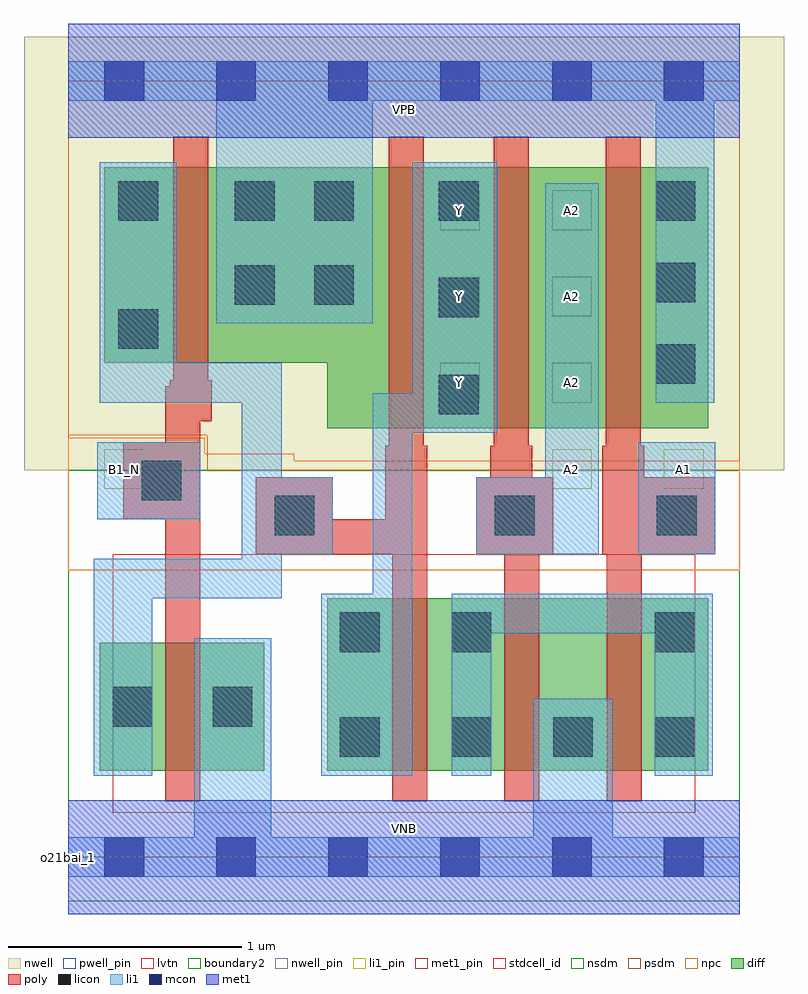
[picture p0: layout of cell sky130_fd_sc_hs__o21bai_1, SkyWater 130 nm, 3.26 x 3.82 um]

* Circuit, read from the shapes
.subckt sky130_fd_sc_hs__o21bai_1 A1 A2 B1_N VGND VNB VPB VPWR Y
XM1 VGND B1_N n1 VNB sky130_fd_pr__nfet_01v8_lvt w=0.55 l=0.15
XM2 n2 n1 Y VNB sky130_fd_pr__nfet_01v8_lvt w=0.74 l=0.15
XM3 VGND A2 n2 VNB sky130_fd_pr__nfet_01v8_lvt w=0.74 l=0.15
XM4 n2 A1 VGND VNB sky130_fd_pr__nfet_01v8_lvt w=0.74 l=0.15
XM5 VPWR B1_N n1 VPB sky130_fd_pr__pfet_01v8 w=0.84 l=0.15
XM6 Y n1 VPWR VPB sky130_fd_pr__pfet_01v8 w=1.12 l=0.15
XM7 n3 A2 Y VPB sky130_fd_pr__pfet_01v8 w=1.12 l=0.15
XM8 VPWR A1 n3 VPB sky130_fd_pr__pfet_01v8 w=1.12 l=0.15
.ends

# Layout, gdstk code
import gdstk
lib = gdstk.Library(unit=1e-6, precision=1e-09)
def R(c, l, rs):  # rectangles x0, y0, x1, y1
    for r in rs: c.add(gdstk.rectangle(r[:2], r[2:], *l))
def A(c, l, x, y, w, h, nx, ny, dx, dy):  # array of equal rectangles
    R(c, l, [(x+i*dx, y+j*dy, x+i*dx+w, y+j*dy+h) for i in range(nx) for j in range(ny)])
def P(c, l, *ps):  # polygons
    for p in ps: c.add(gdstk.Polygon(p, *l))
nwell_pin = (64, 16)
nwell = (64, 20)
diff = (65, 20)
poly = (66, 20)
licon = (66, 44)
li1_pin = (67, 16)
li1 = (67, 20)
mcon = (67, 44)
met1_pin = (68, 16)
met1 = (68, 20)
stdcell_id = (81, 4)
nsdm = (93, 44)
psdm = (94, 20)
npc = (95, 20)
pwell_pin = (122, 16)
lvtn = (125, 44)
boundary2 = (236, 0)

sky130_fd_sc_hs__o21bai_ = lib.new_cell('sky130_fd_sc_hs__o21bai_1')
R(sky130_fd_sc_hs__o21bai_, nwell_pin, [(0,3.085,2.88,3.33)])
R(sky130_fd_sc_hs__o21bai_, nwell, [(-0.19,1.66,3.07,3.52)])
R(sky130_fd_sc_hs__o21bai_, diff, [(0.135,0.37,0.84,0.92), (1.11,0.37,2.745,1.11)])
P(sky130_fd_sc_hs__o21bai_, diff, [(2.745,2.96),(0.155,2.96),(0.155,2.12),(1.11,2.12),(1.11,1.84),(2.745,1.84)])
P(sky130_fd_sc_hs__o21bai_, poly, [(0.615,2.045),(0.6,2.045),(0.6,3.09),(0.45,3.09),(0.45,2.045),(0.435,2.045),(0.435,2.02),(0.415,2.02),(0.415,1.78),(0.235,1.78),(0.235,1.45),(0.415,1.45),(0.415,0.24),(0.565,0.24),(0.565,1.87),(0.615,1.87)],
  [(1.54,1.765),(1.525,1.765),(1.525,3.09),(1.375,3.09),(1.375,1.765),(1.36,1.765),(1.36,1.45),(1.135,1.45),(1.135,1.63),(0.805,1.63),(0.805,1.3),(1.39,1.3),(1.39,0.24),(1.54,0.24)],
  [(2.08,1.63),(1.99,1.63),(1.99,1.765),(1.975,1.765),(1.975,3.09),(1.825,3.09),(1.825,1.765),(1.81,1.765),(1.81,1.63),(1.75,1.63),(1.75,1.3),(1.87,1.3),(1.87,0.24),(2.02,0.24),(2.02,1.3),(2.08,1.3)],
  [(2.775,1.63),(2.47,1.63),(2.47,1.765),(2.455,1.765),(2.455,3.09),(2.305,3.09),(2.305,1.765),(2.29,1.765),(2.29,1.3),(2.31,1.3),(2.31,0.24),(2.46,0.24),(2.46,1.3),(2.775,1.3)])
A(sky130_fd_sc_hs__o21bai_, licon, 1.645, 0.43, 0.17, 0.17, 3, 1, 0.435, 0)
A(sky130_fd_sc_hs__o21bai_, licon, 1.59, 1.9, 0.17, 0.17, 1, 3, 0, 0.415)
A(sky130_fd_sc_hs__o21bai_, licon, 2.52, 2.03, 0.17, 0.17, 1, 3, 0, 0.35)
R(sky130_fd_sc_hs__o21bai_, licon, [(1.165,0.43,1.335,0.6), (0.19,0.56,0.36,0.73), (0.62,0.56,0.79,0.73), (1.165,0.88,1.335,1.05), (1.645,0.88,1.815,1.05), (2.515,0.88,2.685,1.05), (0.885,1.38,1.055,1.55), (1.83,1.38,2,1.55), (2.525,1.38,2.695,1.55), (0.315,1.53,0.485,1.7), (0.215,2.18,0.385,2.35), (0.715,2.37,0.885,2.54), (1.055,2.37,1.225,2.54), (0.215,2.73,0.385,2.9), (0.715,2.73,0.885,2.9), (1.055,2.73,1.225,2.9)])
A(sky130_fd_sc_hs__o21bai_, li1_pin, 2.075, 1.58, 0.17, 0.17, 1, 4, 0, 0.37)
A(sky130_fd_sc_hs__o21bai_, li1_pin, 1.595, 1.95, 0.17, 0.17, 1, 3, 0, 0.37)
R(sky130_fd_sc_hs__o21bai_, li1_pin, [(0.155,1.58,0.325,1.75), (2.555,1.58,2.725,1.75)])
R(sky130_fd_sc_hs__o21bai_, li1, [(2.445,1.3,2.775,1.78), (0.125,1.45,0.565,1.78)])
P(sky130_fd_sc_hs__o21bai_, li1, [(0,-0.085),(0,0.085),(0.54,0.085),(0.54,0.94),(0.87,0.94),(0.87,0.085),(1.995,0.085),(1.995,0.68),(2.335,0.68),(2.335,0.085),(2.88,0.085),(2.88,-0.085)],
  [(0,3.245),(0,3.415),(2.88,3.415),(2.88,3.245),(2.77,3.245),(2.77,1.95),(2.52,1.95),(2.52,3.245),(1.305,3.245),(1.305,2.29),(0.635,2.29),(0.635,3.245)],
  [(1.475,1.99),(1.475,2.98),(1.84,2.98),(1.84,1.82),(1.475,1.82),(1.475,0.35),(1.085,0.35),(1.085,1.13),(1.305,1.13),(1.305,1.99)],
  [(1.75,1.3),(1.75,1.63),(2.045,1.63),(2.045,2.89),(2.275,2.89),(2.275,1.3)],
  [(0.11,1.28),(0.745,1.28),(0.745,1.95),(0.135,1.95),(0.135,2.98),(0.465,2.98),(0.465,2.12),(0.915,2.12),(0.915,1.63),(1.135,1.63),(1.135,1.3),(0.915,1.3),(0.915,1.11),(0.36,1.11),(0.36,0.35),(0.11,0.35)],
  [(2.515,0.35),(2.515,0.96),(1.815,0.96),(1.815,0.35),(1.645,0.35),(1.645,1.13),(2.765,1.13),(2.765,0.35)])
A(sky130_fd_sc_hs__o21bai_, mcon, 0.155, -0.085, 0.17, 0.17, 6, 2, 0.48, 3.33)
R(sky130_fd_sc_hs__o21bai_, met1_pin, [(0,0,2.88,0.245), (0,3.085,2.88,3.33)])
R(sky130_fd_sc_hs__o21bai_, met1, [(0,-0.245,2.88,0.245), (0,3.085,2.88,3.575)])
R(sky130_fd_sc_hs__o21bai_, stdcell_id, [(0,0,2.88,3.33)])
R(sky130_fd_sc_hs__o21bai_, nsdm, [(0,-0.19,2.88,1.66)])
P(sky130_fd_sc_hs__o21bai_, psdm, [(2.88,3.52),(0,3.52),(0,1.81),(0.595,1.81),(0.595,1.66),(2.88,1.66)])
P(sky130_fd_sc_hs__o21bai_, npc, [(2.88,1.7),(0.97,1.7),(0.97,1.73),(0.585,1.73),(0.585,1.8),(0,1.8),(0,1.23),(2.88,1.23)])
R(sky130_fd_sc_hs__o21bai_, pwell_pin, [(0,0,2.88,0.245)])
R(sky130_fd_sc_hs__o21bai_, lvtn, [(0.19,0.19,2.69,1.3)])
R(sky130_fd_sc_hs__o21bai_, boundary2, [(0,0,2.88,3.33)])
sky130_fd_sc_hs__o21bai_.add(gdstk.Label('o21bai_1', (0,0), layer=83, texttype=44))
sky130_fd_sc_hs__o21bai_.add(gdstk.Label('VNB', (1.44,0.123), layer=64, texttype=59))
sky130_fd_sc_hs__o21bai_.add(gdstk.Label('VPB', (1.44,3.208), layer=64, texttype=5))
sky130_fd_sc_hs__o21bai_.add(gdstk.Label('VPWR', (1.44,3.208), layer=68, texttype=5))
sky130_fd_sc_hs__o21bai_.add(gdstk.Label('VGND', (1.44,0.123), layer=68, texttype=5))
sky130_fd_sc_hs__o21bai_.add(gdstk.Label('B1_N', (0.24,1.665), layer=67, texttype=5))
sky130_fd_sc_hs__o21bai_.add(gdstk.Label('Y', (1.68,2.035), layer=67, texttype=5))
sky130_fd_sc_hs__o21bai_.add(gdstk.Label('Y', (1.68,2.405), layer=67, texttype=5))
sky130_fd_sc_hs__o21bai_.add(gdstk.Label('Y', (1.68,2.775), layer=67, texttype=5))
sky130_fd_sc_hs__o21bai_.add(gdstk.Label('A2', (2.16,1.665), layer=67, texttype=5))
sky130_fd_sc_hs__o21bai_.add(gdstk.Label('A2', (2.16,2.035), layer=67, texttype=5))
sky130_fd_sc_hs__o21bai_.add(gdstk.Label('A2', (2.16,2.405), layer=67, texttype=5))
sky130_fd_sc_hs__o21bai_.add(gdstk.Label('A2', (2.16,2.775), layer=67, texttype=5))
sky130_fd_sc_hs__o21bai_.add(gdstk.Label('A1', (2.64,1.665), layer=67, texttype=5))

lib.write_gds('sky130_fd_sc_hs__o21bai_1.gds')
